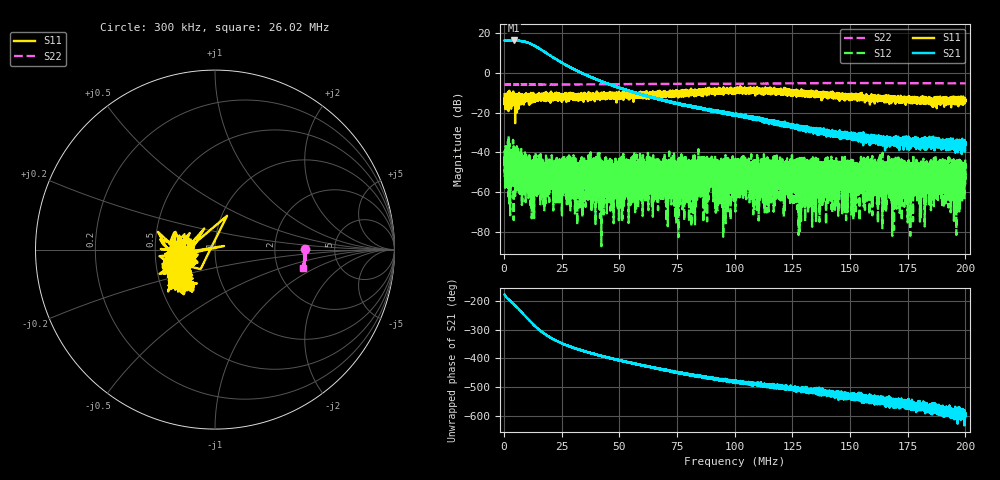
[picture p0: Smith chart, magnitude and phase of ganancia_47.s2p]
# Hz S DB R 50
! CMT, M5065, 19127446, 24.2.4/2
! Date: 11/8/2024 3:17:18 PM
! Data: Format (Calibration Info)
! Freq	S11:dB/Ang(F2)	S21:dB/Ang(F2)	S12:dB/Ang(F2)	S22:dB/Ang(F2)
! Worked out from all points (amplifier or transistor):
!   9000 points, 300 kHz to 200 MHz, reference 50 ohm
!   highest |S21| = 16.2 dB at 4.272 MHz (marker M1)
!   |S21| within 3 dB of that: start of sweep to 13.77 MHz
!   unconditionally stable (mu >= 1): start of sweep to end of sweep
!   at 33.59 MHz: K = 140.91, MAG = 1.5 dB, |S12| = -52.0 dB
!   at 100.2 MHz: K = 576.53, MAG = -19.1 dB, |S12| = -44.0 dB
!   at 200 MHz: K = 6507.05, MAG = -33.2 dB, |S12| = -50.8 dB
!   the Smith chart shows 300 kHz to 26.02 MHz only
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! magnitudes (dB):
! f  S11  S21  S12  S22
! 300 kHz  -10.9  16.1  -39.2  -6.0
! 1.987 MHz  -17.2  16.1  -44.7  -6.0
! 4.272 MHz  -13.3  16.2  -36.9  -6.0
! 12.13 MHz  -11.8  14.2  -54.9  -6.0
! 14.59 MHz  -11.4  12.7  -44.4  -6.0
! 17.05 MHz  -11.7  10.9  -63.7  -6.0
! 20.36 MHz  -12.4  8.4  -45.3  -6.0
! 33.59 MHz  -12.1  -0.1  -52.0  -5.9
! 66.87 MHz  -10.9  -13.2  -49.7  -5.7
! 72.49 MHz  -10.4  -14.9  -49.2  -5.6
! 74.84 MHz  -9.6  -15.5  -47.2  -5.6
! 76.84 MHz  -11.7  -16.0  -47.9  -5.6
! 87.29 MHz  -8.7  -18.3  -54.9  -5.6
! 89.71 MHz  -9.6  -19.2  -50.7  -5.6
! 93.53 MHz  -9.3  -19.6  -46.3  -5.6
! 100.2 MHz  -9.6  -21.1  -44.0  -5.6
! 133.4 MHz  -11.0  -28.5  -46.9  -5.3
! 166.7 MHz  -13.5  -35.1  -52.1  -5.2
! 169.2 MHz  -12.2  -34.5  -52.8  -5.2
! 177.8 MHz  -12.6  -33.8  -52.7  -5.3
! 179.8 MHz  -15.3  -37.5  -49.1  -5.3
! 200 MHz  -13.6  -34.8  -50.8  -5.4
